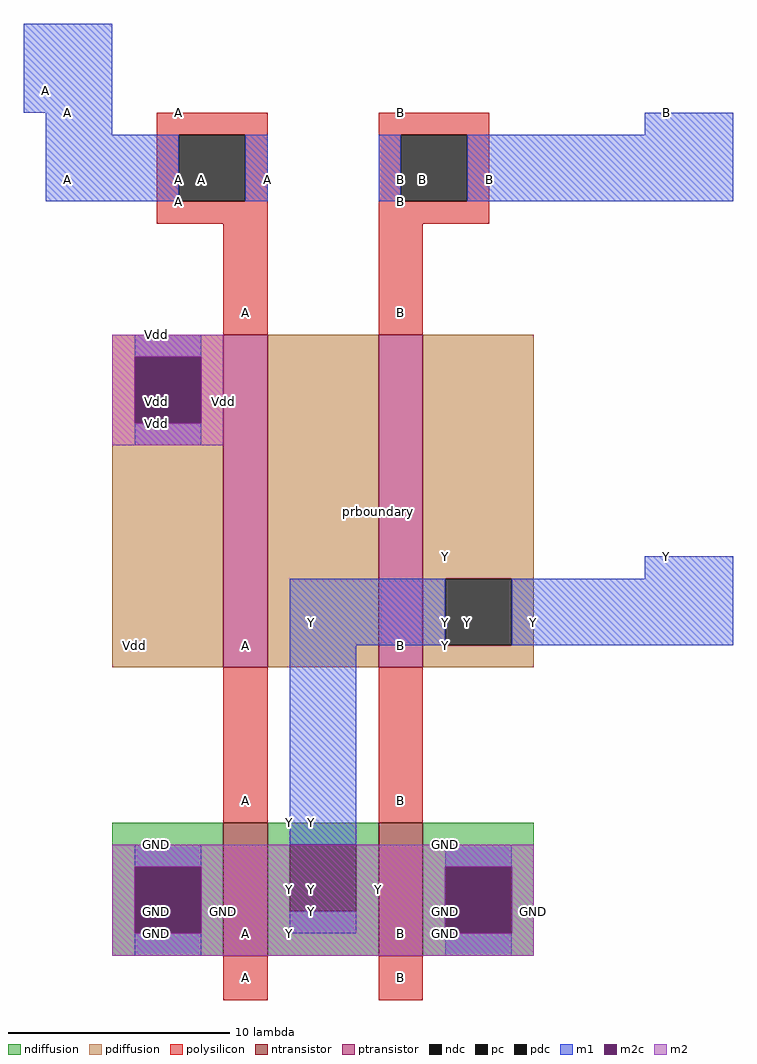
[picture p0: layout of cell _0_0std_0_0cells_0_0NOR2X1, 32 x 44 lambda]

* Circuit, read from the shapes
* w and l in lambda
.subckt _0_0std_0_0cells_0_0NOR2X1 B Y A
M1 Y A GND VSUBS nfet w=6 l=2
M2 GND B Y VSUBS nfet w=6 l=2
M3 n1 A Vdd NWELL pfet w=15 l=2
M4 Y B n1 NWELL pfet w=15 l=2
.ends

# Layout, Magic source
magic
tech sky130l
<< ndiffusion >>
rect 8 10 13 12
rect 8 7 9 10
rect 12 7 13 10
rect 8 6 13 7
rect 15 11 20 12
rect 15 8 16 11
rect 19 8 20 11
rect 15 6 20 8
rect 22 10 27 12
rect 22 7 23 10
rect 26 7 27 10
rect 22 6 27 7
<< ndc >>
rect 9 7 12 10
rect 16 8 19 11
rect 23 7 26 10
<< ntransistor >>
rect 13 6 15 12
rect 20 6 22 12
<< pdiffusion >>
rect 8 33 13 34
rect 8 30 9 33
rect 12 30 13 33
rect 8 19 13 30
rect 15 19 20 34
rect 22 23 27 34
rect 22 20 23 23
rect 26 20 27 23
rect 22 19 27 20
<< pdc >>
rect 9 30 12 33
rect 23 20 26 23
<< ptransistor >>
rect 13 19 15 34
rect 20 19 22 34
<< polysilicon >>
rect 10 43 15 44
rect 10 40 11 43
rect 14 40 15 43
rect 10 39 15 40
rect 13 34 15 39
rect 20 43 25 44
rect 20 40 21 43
rect 24 40 25 43
rect 20 39 25 40
rect 20 34 22 39
rect 13 12 15 19
rect 20 12 22 19
rect 13 4 15 6
rect 20 4 22 6
<< pc >>
rect 11 40 14 43
rect 21 40 24 43
<< m1 >>
rect 4 44 8 48
rect 5 43 8 44
rect 32 43 36 44
rect 5 40 11 43
rect 14 40 15 43
rect 20 40 21 43
rect 24 40 36 43
rect 9 33 12 34
rect 9 29 12 30
rect 32 23 36 24
rect 16 20 23 23
rect 26 20 36 23
rect 16 11 19 20
rect 9 10 12 11
rect 16 7 19 8
rect 23 10 26 11
rect 9 6 12 7
rect 23 6 26 7
<< m2c >>
rect 9 30 12 33
rect 9 7 12 10
rect 23 7 26 10
<< m2 >>
rect 8 33 13 34
rect 8 30 9 33
rect 12 30 13 33
rect 8 29 13 30
rect 8 10 27 11
rect 8 7 9 10
rect 12 7 23 10
rect 26 7 27 10
rect 8 6 27 7
<< labels >>
rlabel space 0 0 40 52 6 prboundary
rlabel ndiffusion 23 7 23 7 3 GND
rlabel ndiffusion 23 8 23 8 3 GND
rlabel ndiffusion 23 11 23 11 3 GND
rlabel ndiffusion 20 9 20 9 3 Y
rlabel pdiffusion 23 20 23 20 3 Y
rlabel pdiffusion 23 21 23 21 3 Y
rlabel pdiffusion 23 24 23 24 3 Y
rlabel polysilicon 21 35 21 35 3 B
rlabel polysilicon 21 40 21 40 3 B
rlabel polysilicon 21 44 21 44 3 B
rlabel polysilicon 21 5 21 5 3 B
rlabel ntransistor 21 7 21 7 3 B
rlabel polysilicon 21 13 21 13 3 B
rlabel ptransistor 21 20 21 20 3 B
rlabel ndiffusion 16 7 16 7 3 Y
rlabel ndiffusion 16 9 16 9 3 Y
rlabel ndiffusion 16 12 16 12 3 Y
rlabel polysilicon 14 35 14 35 3 A
rlabel polysilicon 14 5 14 5 3 A
rlabel ntransistor 14 7 14 7 3 A
rlabel polysilicon 14 13 14 13 3 A
rlabel ptransistor 14 20 14 20 3 A
rlabel polysilicon 11 40 11 40 3 A
rlabel polysilicon 11 41 11 41 3 A
rlabel polysilicon 11 44 11 44 3 A
rlabel pdiffusion 9 20 9 20 3 Vdd
rlabel m1 33 44 33 44 3 B
port 1 e
rlabel m1 33 24 33 24 3 Y
port 2 e
rlabel m1 24 11 24 11 3 GND
rlabel m1 25 41 25 41 3 B
port 1 e
rlabel pc 22 41 22 41 3 B
port 1 e
rlabel m1 27 21 27 21 3 Y
port 2 e
rlabel m1 21 41 21 41 3 B
port 1 e
rlabel pdc 24 21 24 21 3 Y
port 2 e
rlabel m1 24 7 24 7 3 GND
rlabel m1 17 8 17 8 3 Y
port 2 e
rlabel ndc 17 9 17 9 3 Y
port 2 e
rlabel m1 17 12 17 12 3 Y
port 2 e
rlabel m1 17 21 17 21 3 Y
port 2 e
rlabel m1 15 41 15 41 3 A
port 3 e
rlabel m1 10 7 10 7 3 GND
rlabel m1 10 11 10 11 3 GND
rlabel m1 10 30 10 30 3 Vdd
rlabel m1 10 34 10 34 3 Vdd
rlabel pc 12 41 12 41 3 A
port 3 e
rlabel m1 6 41 6 41 3 A
port 3 e
rlabel m1 6 44 6 44 3 A
port 3 e
rlabel m1 5 45 5 45 3 A
port 3 e
rlabel m2 27 8 27 8 3 GND
rlabel m2c 24 8 24 8 3 GND
rlabel m2 13 8 13 8 3 GND
rlabel m2 13 31 13 31 3 Vdd
rlabel m2c 10 8 10 8 3 GND
rlabel m2c 10 31 10 31 3 Vdd
rlabel m2 9 7 9 7 3 GND
rlabel m2 9 8 9 8 3 GND
rlabel m2 9 11 9 11 3 GND
rlabel m2 9 30 9 30 3 Vdd
rlabel m2 9 31 9 31 3 Vdd
rlabel m2 9 34 9 34 3 Vdd
<< end >>
